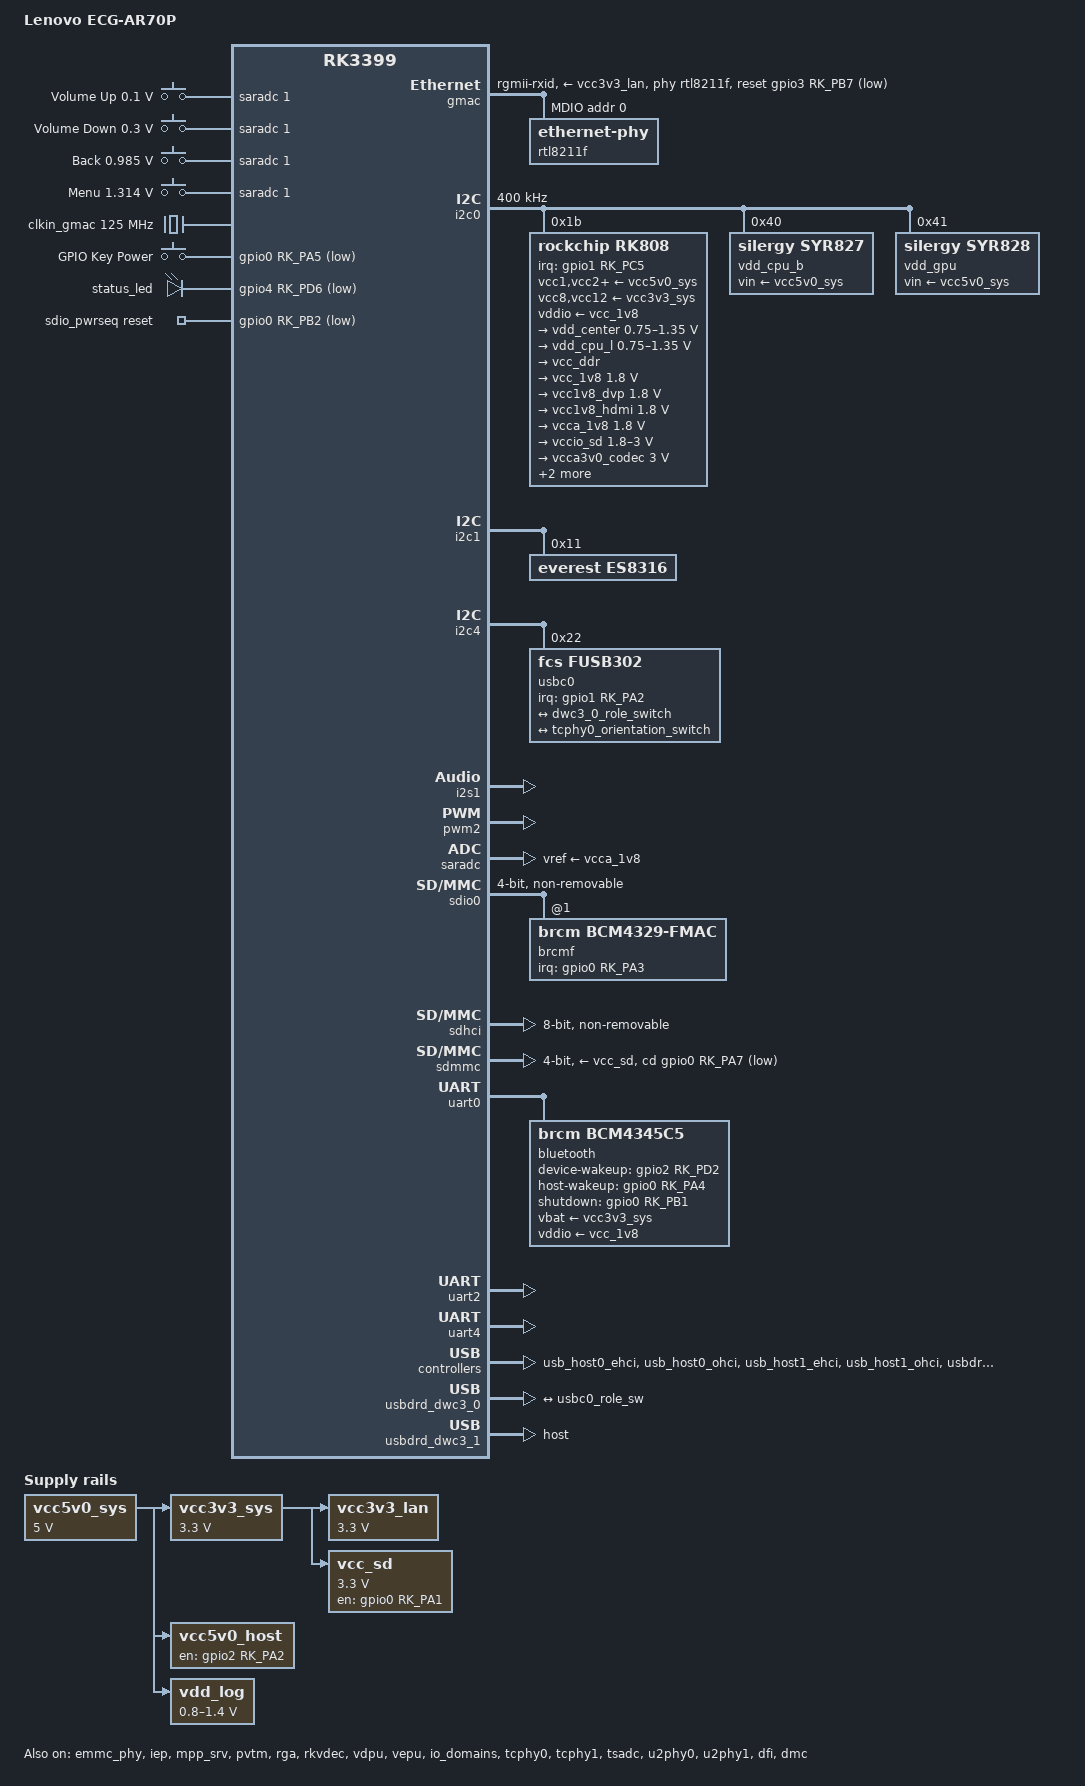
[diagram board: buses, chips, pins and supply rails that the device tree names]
// SPDX-License-Identifier: (GPL-2.0+ OR MIT)
/*
 * Device Tree for Lenovo ECG-AR70P (RK3399) — Rockchip Linux 6.12 BSP (Headless)
 */

/dts-v1/;
#include <dt-bindings/input/linux-event-codes.h>
#include <dt-bindings/interrupt-controller/irq.h>
#include <dt-bindings/pwm/pwm.h>
#include <dt-bindings/usb/pd.h>
#include "rk3399.dtsi"
#include "rk3399-opp.dtsi"
#include "rk3399-dram-default-timing.dtsi"
#include <dt-bindings/soc/rockchip-system-status.h>

/ {
	model = "Lenovo ECG-AR70P";
	compatible = "lenovo,ecg-ar70p", "rockchip,rk3399";

	aliases {
		ethernet0 = &gmac;
		mmc0 = &sdhci;
		mmc1 = &sdmmc;
		mmc2 = &sdio0;
	};

	chosen {
		stdout-path = "serial2:1500000n8";
	};

	adc-keys {
		compatible = "adc-keys";
		io-channels = <&saradc 1>;
		io-channel-names = "buttons";
		keyup-threshold-microvolt = <1800000>;
		poll-interval = <100>;

		button-up {
			label = "Volume Up";
			linux,code = <KEY_VOLUMEUP>;
			press-threshold-microvolt = <100000>;
		};

		button-down {
			label = "Volume Down";
			linux,code = <KEY_VOLUMEDOWN>;
			press-threshold-microvolt = <300000>;
		};

		button-back {
			label = "Back";
			linux,code = <KEY_BACK>;
			press-threshold-microvolt = <985000>;
		};

		button-menu {
			label = "Menu";
			linux,code = <KEY_MENU>;
			press-threshold-microvolt = <1314000>;
		};
	};

	clkin_gmac: external-gmac-clock {
		compatible = "fixed-clock";
		clock-frequency = <125000000>;
		clock-output-names = "clkin_gmac";
		#clock-cells = <0>;
	};

	es8316-sound {
		compatible = "simple-audio-card";
		simple-audio-card,name = "rockchip,es8316-codec";
		simple-audio-card,format = "i2s";
		simple-audio-card,mclk-fs = <256>;
		simple-audio-card,widgets =
			"Microphone", "Mic Jack",
			"Headphone", "Headphones";
		simple-audio-card,routing =
			"MIC1", "Mic Jack",
			"Headphones", "HPOL",
			"Headphones", "HPOR";

		simple-audio-card,cpu {
			sound-dai = <&i2s1>;
		};

		simple-audio-card,codec {
			sound-dai = <&es8316>;
		};
	};

	gpio-keys {
		compatible = "gpio-keys";
		autorepeat;
		pinctrl-names = "default";
		pinctrl-0 = <&pwr_key>;

		button-power {
			debounce-interval = <100>;
			gpios = <&gpio0 RK_PA5 GPIO_ACTIVE_LOW>;
			label = "GPIO Key Power";
			linux,code = <KEY_POWER>;
			wakeup-source;
		};
	};

	gpio-leds {
		compatible = "gpio-leds";
		pinctrl-names = "default";
		pinctrl-0 = <&status_led_pin>;

		led-status {
			gpios = <&gpio4 RK_PD6 GPIO_ACTIVE_LOW>;
			label = "status_led";
			linux,default-trigger = "heartbeat";
		};
	};

	sdio_pwrseq: sdio-pwrseq {
		compatible = "mmc-pwrseq-simple";
		clocks = <&rk808 1>;
		clock-names = "ext_clock";
		pinctrl-names = "default";
		pinctrl-0 = <&wifi_enable_h>;
		reset-gpios = <&gpio0 RK_PB2 GPIO_ACTIVE_LOW>;
	};

	vcc3v3_lan: regulator-vcc3v3-lan {
		compatible = "regulator-fixed";
		regulator-name = "vcc3v3_lan";
		regulator-always-on;
		regulator-boot-on;
		regulator-min-microvolt = <3300000>;
		regulator-max-microvolt = <3300000>;
		vin-supply = <&vcc3v3_sys>;
	};

	vcc3v3_sys: regulator-vcc3v3-sys {
		compatible = "regulator-fixed";
		regulator-name = "vcc3v3_sys";
		regulator-always-on;
		regulator-boot-on;
		regulator-min-microvolt = <3300000>;
		regulator-max-microvolt = <3300000>;
		vin-supply = <&vcc5v0_sys>;
	};

	vcc5v0_host: regulator-vcc5v0-host {
		compatible = "regulator-fixed";
		enable-active-high;
		gpio = <&gpio2 RK_PA2 GPIO_ACTIVE_HIGH>;
		pinctrl-names = "default";
		pinctrl-0 = <&vcc5v0_host_en>;
		regulator-name = "vcc5v0_host";
		regulator-always-on;
		regulator-boot-on;
		vin-supply = <&vcc5v0_sys>;
	};

	vcc5v0_sys: regulator-vcc5v0-sys {
		compatible = "regulator-fixed";
		regulator-name = "vcc5v0_sys";
		regulator-always-on;
		regulator-boot-on;
		regulator-min-microvolt = <5000000>;
		regulator-max-microvolt = <5000000>;
	};

	vcc_sd: regulator-vcc-sd {
		compatible = "regulator-fixed";
		enable-active-high;
		gpio = <&gpio0 RK_PA1 GPIO_ACTIVE_HIGH>;
		pinctrl-names = "default";
		pinctrl-0 = <&vcc_sd_h>;
		regulator-name = "vcc_sd";
		regulator-min-microvolt = <3300000>;
		regulator-max-microvolt = <3300000>;
		vin-supply = <&vcc3v3_sys>;
	};

	vdd_log: regulator-vdd-log {
		compatible = "pwm-regulator";
		pwms = <&pwm2 0 25000 1>;
		pwm-supply = <&vcc5v0_sys>;
		regulator-name = "vdd_log";
		regulator-always-on;
		regulator-boot-on;
		regulator-min-microvolt = <800000>;
		regulator-max-microvolt = <1400000>;
	};
};

&cpu_l0 {
	cpu-supply = <&vdd_cpu_l>;
};

&cpu_l1 {
	cpu-supply = <&vdd_cpu_l>;
};

&cpu_l2 {
	cpu-supply = <&vdd_cpu_l>;
};

&cpu_l3 {
	cpu-supply = <&vdd_cpu_l>;
};

&cpu_b0 {
	cpu-supply = <&vdd_cpu_b>;
};

&cpu_b1 {
	cpu-supply = <&vdd_cpu_b>;
};

&display_subsystem {
	status = "disabled";
};

&emmc_phy {
	status = "okay";
};

&gmac {
	assigned-clocks = <&cru SCLK_RMII_SRC>;
	assigned-clock-parents = <&clkin_gmac>;
	clock_in_out = "input";
	phy-handle = <&rtl8211f>;
	phy-supply = <&vcc3v3_lan>;
	phy-mode = "rgmii-rxid";
	pinctrl-names = "default";
	pinctrl-0 = <&rgmii_pins>;
	snps,reset-gpio = <&gpio3 RK_PB7 GPIO_ACTIVE_LOW>;
	snps,reset-active-low;
	snps,reset-delays-us = <0 10000 50000>;
	tx_delay = <0x23>;
	rx_delay = <0x9>;
	status = "okay";

	mdio {
		compatible = "snps,dwmac-mdio";
		#address-cells = <1>;
		#size-cells = <0>;

		rtl8211f: ethernet-phy@0 {
			reg = <0>;
			/* Mode B: LED0 = 1000M link, LED1 = 10/100/1000M link + TX/RX activity */
			realtek,led-data = <0x8368>;
		};
	};
};

&gpu {
	status = "disabled";
};

&i2c0 {
	clock-frequency = <400000>;
	i2c-scl-rising-time-ns = <168>;
	i2c-scl-falling-time-ns = <4>;
	status = "okay";

	rk808: pmic@1b {
		compatible = "rockchip,rk808";
		reg = <0x1b>;
		interrupt-parent = <&gpio1>;
		interrupts = <RK_PC5 IRQ_TYPE_LEVEL_LOW>;
		#clock-cells = <1>;
		clock-output-names = "xin32k", "rk808-clkout2";
		pinctrl-names = "default";
		pinctrl-0 = <&pmic_int_l>;
		system-power-controller;
		wakeup-source;

		vcc1-supply = <&vcc5v0_sys>;
		vcc2-supply = <&vcc5v0_sys>;
		vcc3-supply = <&vcc5v0_sys>;
		vcc4-supply = <&vcc5v0_sys>;
		vcc6-supply = <&vcc5v0_sys>;
		vcc7-supply = <&vcc5v0_sys>;
		vcc8-supply = <&vcc3v3_sys>;
		vcc9-supply = <&vcc5v0_sys>;
		vcc10-supply = <&vcc5v0_sys>;
		vcc11-supply = <&vcc5v0_sys>;
		vcc12-supply = <&vcc3v3_sys>;
		vddio-supply = <&vcc_1v8>;

		regulators {
			vdd_center: DCDC_REG1 {
				regulator-name = "vdd_center";
				regulator-always-on;
				regulator-boot-on;
				regulator-min-microvolt = <750000>;
				regulator-max-microvolt = <1350000>;
				regulator-ramp-delay = <6001>;
				regulator-state-mem {
					regulator-off-in-suspend;
				};
			};

			vdd_cpu_l: DCDC_REG2 {
				regulator-name = "vdd_cpu_l";
				regulator-always-on;
				regulator-boot-on;
				regulator-min-microvolt = <750000>;
				regulator-max-microvolt = <1350000>;
				regulator-ramp-delay = <6001>;
				regulator-state-mem {
					regulator-off-in-suspend;
				};
			};

			vcc_ddr: DCDC_REG3 {
				regulator-name = "vcc_ddr";
				regulator-always-on;
				regulator-boot-on;
				regulator-state-mem {
					regulator-on-in-suspend;
				};
			};

			vcc_1v8: DCDC_REG4 {
				regulator-name = "vcc_1v8";
				regulator-always-on;
				regulator-boot-on;
				regulator-min-microvolt = <1800000>;
				regulator-max-microvolt = <1800000>;
				regulator-state-mem {
					regulator-on-in-suspend;
					regulator-suspend-microvolt = <1800000>;
				};
			};

			vcc1v8_dvp: LDO_REG1 {
				regulator-name = "vcc1v8_dvp";
				regulator-always-on;
				regulator-boot-on;
				regulator-min-microvolt = <1800000>;
				regulator-max-microvolt = <1800000>;
				regulator-state-mem {
					regulator-off-in-suspend;
				};
			};

			vcc1v8_hdmi: LDO_REG2 {
				regulator-name = "vcc1v8_hdmi";
				regulator-min-microvolt = <1800000>;
				regulator-max-microvolt = <1800000>;
				regulator-state-mem {
					regulator-off-in-suspend;
				};
			};

			vcca_1v8: LDO_REG3 {
				regulator-name = "vcca_1v8";
				regulator-always-on;
				regulator-boot-on;
				regulator-min-microvolt = <1800000>;
				regulator-max-microvolt = <1800000>;
				regulator-state-mem {
					regulator-on-in-suspend;
					regulator-suspend-microvolt = <1800000>;
				};
			};

			vccio_sd: LDO_REG4 {
				regulator-name = "vccio_sd";
				regulator-always-on;
				regulator-boot-on;
				regulator-min-microvolt = <1800000>;
				regulator-max-microvolt = <3000000>;
				regulator-state-mem {
					regulator-on-in-suspend;
					regulator-suspend-microvolt = <3000000>;
				};
			};

			vcca3v0_codec: LDO_REG5 {
				regulator-name = "vcca3v0_codec";
				regulator-always-on;
				regulator-boot-on;
				regulator-min-microvolt = <3000000>;
				regulator-max-microvolt = <3000000>;
				regulator-state-mem {
					regulator-off-in-suspend;
				};
			};

			vcc_1v5: LDO_REG6 {
				regulator-name = "vcc_1v5";
				regulator-always-on;
				regulator-boot-on;
				regulator-min-microvolt = <1500000>;
				regulator-max-microvolt = <1500000>;
				regulator-state-mem {
					regulator-on-in-suspend;
					regulator-suspend-microvolt = <1500000>;
				};
			};

			vcc0v9_hdmi: LDO_REG7 {
				regulator-name = "vcc0v9_hdmi";
				regulator-min-microvolt = <900000>;
				regulator-max-microvolt = <900000>;
				regulator-state-mem {
					regulator-off-in-suspend;
				};
			};

			vcc_3v0: LDO_REG8 {
				regulator-name = "vcc_3v0";
				regulator-always-on;
				regulator-boot-on;
				regulator-min-microvolt = <3000000>;
				regulator-max-microvolt = <3000000>;
				regulator-state-mem {
					regulator-on-in-suspend;
					regulator-suspend-microvolt = <3000000>;
				};
			};

			vcc3v3_s3: SWITCH_REG1 {
				regulator-name = "vcc3v3_s3";
				regulator-always-on;
				regulator-boot-on;
				regulator-state-mem {
					regulator-off-in-suspend;
				};
			};

			vcc3v3_s0: SWITCH_REG2 {
				regulator-name = "vcc3v3_s0";
				regulator-always-on;
				regulator-boot-on;
				regulator-state-mem {
					regulator-off-in-suspend;
				};
			};
		};
	};

	vdd_cpu_b: regulator@40 {
		compatible = "silergy,syr827";
		reg = <0x40>;
		fcs,suspend-voltage-selector = <1>;
		pinctrl-names = "default";
		pinctrl-0 = <&vsel1_pin>;
		regulator-name = "vdd_cpu_b";
		regulator-min-microvolt = <712500>;
		regulator-max-microvolt = <1500000>;
		regulator-ramp-delay = <1000>;
		regulator-always-on;
		regulator-boot-on;
		vin-supply = <&vcc5v0_sys>;

		regulator-state-mem {
			regulator-off-in-suspend;
		};
	};

	vdd_gpu: regulator@41 {
		compatible = "silergy,syr828";
		reg = <0x41>;
		fcs,suspend-voltage-selector = <1>;
		pinctrl-names = "default";
		pinctrl-0 = <&vsel2_pin>;
		regulator-name = "vdd_gpu";
		regulator-min-microvolt = <712500>;
		regulator-max-microvolt = <1500000>;
		regulator-ramp-delay = <1000>;
		vin-supply = <&vcc5v0_sys>;

		regulator-state-mem {
			regulator-off-in-suspend;
		};
	};
};

&i2c1 {
	i2c-scl-rising-time-ns = <300>;
	i2c-scl-falling-time-ns = <15>;
	status = "okay";

	es8316: audio-codec@11 {
		compatible = "everest,es8316";
		reg = <0x11>;
		clocks = <&cru SCLK_I2S_8CH_OUT>;
		clock-names = "mclk";
		#sound-dai-cells = <0>;
	};
};

&i2c4 {
	i2c-scl-rising-time-ns = <600>;
	i2c-scl-falling-time-ns = <20>;
	status = "okay";

	usbc0: fusb302@22 {
		compatible = "fcs,fusb302";
		reg = <0x22>;
		interrupt-parent = <&gpio1>;
		interrupts = <RK_PA2 IRQ_TYPE_LEVEL_LOW>;
		pinctrl-names = "default";
		pinctrl-0 = <&fusb0_int>;
		status = "okay";

		port {
			usbc0_role_sw: endpoint {
				remote-endpoint = <&dwc3_0_role_switch>;
			};
		};

		usb_con: connector {
			compatible = "usb-c-connector";
			label = "USB-C";
			data-role = "dual";
			power-role = "dual";
			try-power-role = "sink";
			op-sink-microwatt = <2500000>;
			sink-pdos = <PDO_FIXED(5000, 500, PDO_FIXED_USB_COMM)>;
			source-pdos = <PDO_FIXED(5000, 1200, PDO_FIXED_USB_COMM)>;

			port {
				usbc0_orien_sw: endpoint {
					remote-endpoint = <&tcphy0_orientation_switch>;
				};
			};
		};
	};
};

&i2s1 {
	pinctrl-names = "default";
	pinctrl-0 = <&i2s_8ch_mclk &i2s1_2ch_bus>;
	rockchip,playback-channels = <2>;
	rockchip,capture-channels = <2>;
	status = "okay";
};

/* Rockchip MPP hardware video codecs (vepu2 encode + vdpu2/rkvdec 4K decode) + IEP + Multi-RGA2 */
&iep {
	status = "okay";
};

&iep_mmu {
	status = "okay";
};

&mpp_srv {
	status = "okay";
};

&pvtm {
	status = "okay";
};

&rga {
	compatible = "rockchip,rga2";
	dev_mode = <1>;
	reg = <0x0 0xff680000 0x0 0x1000>;
	clock-names = "aclk_rga", "hclk_rga", "clk_rga";
	status = "okay";
};

&rkvdec {
	status = "okay";
};

&vdec_mmu {
	status = "okay";
};

&vdpu {
	status = "okay";
};

&vepu {
	status = "okay";
};

&vpu_mmu {
	status = "okay";
};

&io_domains {
	status = "okay";
	bt656-supply = <&vcc1v8_dvp>;
	audio-supply = <&vcc_1v8>;
	sdmmc-supply = <&vccio_sd>;
	gpio1830-supply = <&vcc_3v0>;
};

&pmu_io_domains {
	status = "okay";
	pmu1830-supply = <&vcc_3v0>;
};

&pinctrl {
	bt {
		bt_enable_h: bt-enable-h {
			rockchip,pins = <0 RK_PB1 RK_FUNC_GPIO &pcfg_pull_none>;
		};

		bt_host_wake_l: bt-host-wake-l {
			rockchip,pins = <0 RK_PA4 RK_FUNC_GPIO &pcfg_pull_none>;
		};

		bt_wake_l: bt-wake-l {
			rockchip,pins = <2 RK_PD2 RK_FUNC_GPIO &pcfg_pull_none>;
		};
	};

	buttons {
		pwr_key: pwr-key {
			rockchip,pins = <0 RK_PA5 RK_FUNC_GPIO &pcfg_pull_up>;
		};
	};

	fusb302x {
		fusb0_int: fusb0-int {
			rockchip,pins = <1 RK_PA2 RK_FUNC_GPIO &pcfg_pull_up>;
		};
	};

	leds {
		status_led_pin: status-led-pin {
			rockchip,pins = <4 RK_PD6 RK_FUNC_GPIO &pcfg_pull_none>;
		};
	};

	pmic {
		pmic_int_l: pmic-int-l {
			rockchip,pins = <1 RK_PC5 RK_FUNC_GPIO &pcfg_pull_up>;
		};

		vsel1_pin: vsel1-pin {
			rockchip,pins = <1 RK_PC1 RK_FUNC_GPIO &pcfg_pull_down>;
		};

		vsel2_pin: vsel2-pin {
			rockchip,pins = <1 RK_PB6 RK_FUNC_GPIO &pcfg_pull_down>;
		};
	};

	sdmmc {
		vcc_sd_h: vcc-sd-h {
			rockchip,pins = <0 RK_PA1 RK_FUNC_GPIO &pcfg_pull_up>;
		};
	};

	usb2 {
		vcc5v0_host_en: vcc5v0-host-en {
			rockchip,pins = <2 RK_PA2 RK_FUNC_GPIO &pcfg_pull_none>;
		};
	};

	wifi {
		wifi_enable_h: wifi-enable-h {
			rockchip,pins = <0 RK_PB2 RK_FUNC_GPIO &pcfg_pull_none>;
		};

		wifi_host_wake_l: wifi-host-wake-l {
			rockchip,pins = <0 RK_PA3 RK_FUNC_GPIO &pcfg_pull_none>;
		};
	};
};

&pwm2 {
	status = "okay";
};

&saradc {
	vref-supply = <&vcca_1v8>;
	status = "okay";
};

&sdio0 {
	#address-cells = <1>;
	#size-cells = <0>;
	bus-width = <4>;
	clock-frequency = <50000000>;
	cap-sdio-irq;
	cap-sd-highspeed;
	keep-power-in-suspend;
	mmc-pwrseq = <&sdio_pwrseq>;
	non-removable;
	pinctrl-names = "default";
	pinctrl-0 = <&sdio0_bus4 &sdio0_cmd &sdio0_clk>;
	sd-uhs-sdr104;
	status = "okay";

	brcmf: wifi@1 {
		compatible = "brcm,bcm4329-fmac";
		reg = <1>;
		interrupt-parent = <&gpio0>;
		interrupts = <RK_PA3 IRQ_TYPE_LEVEL_HIGH>;
		interrupt-names = "host-wake";
		pinctrl-names = "default";
		pinctrl-0 = <&wifi_host_wake_l>;
	};
};

&sdhci {
	bus-width = <8>;
	mmc-hs400-1_8v;
	mmc-hs400-enhanced-strobe;
	non-removable;
	status = "okay";
};

&sdmmc {
	bus-width = <4>;
	cap-mmc-highspeed;
	cap-sd-highspeed;
	cd-gpios = <&gpio0 RK_PA7 GPIO_ACTIVE_LOW>;
	disable-wp;
	max-frequency = <150000000>;
	pinctrl-names = "default";
	pinctrl-0 = <&sdmmc_clk &sdmmc_cd &sdmmc_cmd &sdmmc_bus4>;
	vmmc-supply = <&vcc_sd>;
	vqmmc-supply = <&vccio_sd>;
	status = "okay";
};

&tcphy0 {
	status = "okay";
	orientation-switch;

	port {
		tcphy0_orientation_switch: endpoint {
			remote-endpoint = <&usbc0_orien_sw>;
		};
	};
};

&tcphy1 {
	status = "okay";
};

&tsadc {
	rockchip,hw-tshut-mode = <1>;
	rockchip,hw-tshut-polarity = <1>;
	status = "okay";
};

&u2phy0 {
	status = "okay";

	u2phy0_otg: otg-port {
		status = "okay";
	};

	u2phy0_host: host-port {
		phy-supply = <&vcc5v0_host>;
		status = "okay";
	};
};

&u2phy1 {
	status = "okay";

	u2phy1_otg: otg-port {
		status = "okay";
	};

	u2phy1_host: host-port {
		phy-supply = <&vcc5v0_host>;
		status = "okay";
	};
};

&uart0 {
	pinctrl-names = "default";
	pinctrl-0 = <&uart0_xfer &uart0_cts &uart0_rts>;
	status = "okay";

	bluetooth {
		compatible = "brcm,bcm4345c5";
		clocks = <&rk808 1>;
		clock-names = "lpo";
		device-wakeup-gpios = <&gpio2 RK_PD2 GPIO_ACTIVE_HIGH>;
		host-wakeup-gpios = <&gpio0 RK_PA4 GPIO_ACTIVE_HIGH>;
		shutdown-gpios = <&gpio0 RK_PB1 GPIO_ACTIVE_HIGH>;
		max-speed = <1500000>;
		pinctrl-names = "default";
		pinctrl-0 = <&bt_host_wake_l &bt_wake_l &bt_enable_h>;
		vbat-supply = <&vcc3v3_sys>;
		vddio-supply = <&vcc_1v8>;
	};
};

&uart2 {
	status = "okay";
};

&uart4 {
	status = "okay";
};

&usb_host0_ehci {
	status = "okay";
};

&usb_host0_ohci {
	status = "okay";
};

&usb_host1_ehci {
	status = "okay";
};

&usb_host1_ohci {
	status = "okay";
};

&usbdrd3_0 {
	status = "okay";
};

&usbdrd_dwc3_0 {
	status = "okay";
	usb-role-switch;

	port {
		dwc3_0_role_switch: endpoint {
			remote-endpoint = <&usbc0_role_sw>;
		};
	};
};

&usbdrd3_1 {
	status = "okay";
};

&usbdrd_dwc3_1 {
	dr_mode = "host";
	status = "okay";
};

&dfi {
	status = "okay";
};

&dmc {
	status = "okay";
	center-supply = <&vdd_center>;
	system-status-freq = <
		/* system status        freq(KHz) */
		SYS_STATUS_NORMAL       1200000
		SYS_STATUS_REBOOT       856000
		SYS_STATUS_SUSPEND      416000
		SYS_STATUS_PERFORMANCE  1200000
		SYS_STATUS_BOOST        1200000
	>;
	auto-min-freq = <1200000>;
	auto-freq-en = <0>;
};

&dmc_opp_table {
	opp-200000000 { status = "disabled"; };
	opp-300000000 { status = "disabled"; };
	opp-400000000 { status = "disabled"; };
	opp-528000000 { status = "disabled"; };
	opp-600000000 { status = "disabled"; };
	opp-800000000 { status = "disabled"; };

	opp-416000000 {
		opp-hz = /bits/ 64 <416000000>;
		opp-microvolt = <900000>;
	};
	opp-666000000 {
		opp-hz = /bits/ 64 <666000000>;
		opp-microvolt = <900000>;
	};
	opp-856000000 {
		opp-hz = /bits/ 64 <856000000>;
		opp-microvolt = <950000>;
	};
	opp-928000000 {
		opp-hz = /bits/ 64 <928000000>;
		opp-microvolt = <950000>;
	};
	opp-1056000000 {
		opp-hz = /bits/ 64 <1056000000>;
		opp-microvolt = <950000>;
	};
	opp-1104000000 {
		opp-hz = /bits/ 64 <1104000000>;
		opp-microvolt = <975000>;
	};
	opp-1152000000 {
		opp-hz = /bits/ 64 <1152000000>;
		opp-microvolt = <1000000>;
	};
	opp-1200000000 {
		opp-hz = /bits/ 64 <1200000000>;
		opp-microvolt = <1000000>;
	};
};

/*
 * CPU overclock: A53 1704 MHz @ 1.275 V / A72 2208 MHz @ 1.300 V.
 * Every frequency uses an existing entry in drivers/clk/rockchip/clk-rk3399.c
 * (rk3399_pll_rates, rk3399_cpuclkl_rates, rk3399_cpuclkb_rates), so no kernel
 * or BL31 patch is required. Both rails stay within the RK3399 1.30 V datasheet
 * absolute maximum.
 */
&cluster0_opp {
	opp-1512000000 {
		opp-hz = /bits/ 64 <1512000000>;
		opp-microvolt = <1150000 1150000 1300000>;
		opp-microvolt-L0 = <1150000 1150000 1300000>;
		opp-microvolt-L1 = <1150000 1150000 1300000>;
		opp-microvolt-L2 = <1150000 1150000 1300000>;
		opp-microvolt-L3 = <1150000 1150000 1300000>;
		clock-latency-ns = <40000>;
	};
	opp-1608000000 {
		opp-hz = /bits/ 64 <1608000000>;
		opp-microvolt = <1200000 1200000 1300000>;
		opp-microvolt-L0 = <1200000 1200000 1300000>;
		opp-microvolt-L1 = <1200000 1200000 1300000>;
		opp-microvolt-L2 = <1200000 1200000 1300000>;
		opp-microvolt-L3 = <1200000 1200000 1300000>;
		clock-latency-ns = <40000>;
	};
	opp-1704000000 {
		opp-hz = /bits/ 64 <1704000000>;
		opp-microvolt = <1275000 1275000 1300000>;
		opp-microvolt-L0 = <1275000 1275000 1300000>;
		opp-microvolt-L1 = <1275000 1275000 1300000>;
		opp-microvolt-L2 = <1275000 1275000 1300000>;
		opp-microvolt-L3 = <1275000 1275000 1300000>;
		clock-latency-ns = <40000>;
	};
};

&cluster1_opp {
	opp-1896000000 {
		opp-hz = /bits/ 64 <1896000000>;
		opp-microvolt = <1225000 1225000 1300000>;
		opp-microvolt-L0 = <1225000 1225000 1300000>;
		opp-microvolt-L1 = <1225000 1225000 1300000>;
		opp-microvolt-L2 = <1225000 1225000 1300000>;
		opp-microvolt-L3 = <1225000 1225000 1300000>;
		opp-microvolt-L4 = <1225000 1225000 1300000>;
		clock-latency-ns = <40000>;
	};
	opp-2016000000 {
		opp-hz = /bits/ 64 <2016000000>;
		opp-microvolt = <1250000 1250000 1300000>;
		opp-microvolt-L0 = <1250000 1250000 1300000>;
		opp-microvolt-L1 = <1250000 1250000 1300000>;
		opp-microvolt-L2 = <1250000 1250000 1300000>;
		opp-microvolt-L3 = <1250000 1250000 1300000>;
		opp-microvolt-L4 = <1250000 1250000 1300000>;
		clock-latency-ns = <40000>;
	};
	opp-2088000000 {
		opp-hz = /bits/ 64 <2088000000>;
		opp-microvolt = <1275000 1275000 1300000>;
		opp-microvolt-L0 = <1275000 1275000 1300000>;
		opp-microvolt-L1 = <1275000 1275000 1300000>;
		opp-microvolt-L2 = <1275000 1275000 1300000>;
		opp-microvolt-L3 = <1275000 1275000 1300000>;
		opp-microvolt-L4 = <1275000 1275000 1300000>;
		clock-latency-ns = <40000>;
	};
	opp-2208000000 {
		opp-hz = /bits/ 64 <2208000000>;
		opp-microvolt = <1300000 1300000 1300000>;
		opp-microvolt-L0 = <1300000 1300000 1300000>;
		opp-microvolt-L1 = <1300000 1300000 1300000>;
		opp-microvolt-L2 = <1300000 1300000 1300000>;
		opp-microvolt-L3 = <1300000 1300000 1300000>;
		opp-microvolt-L4 = <1300000 1300000 1300000>;
		clock-latency-ns = <40000>;
	};
};
